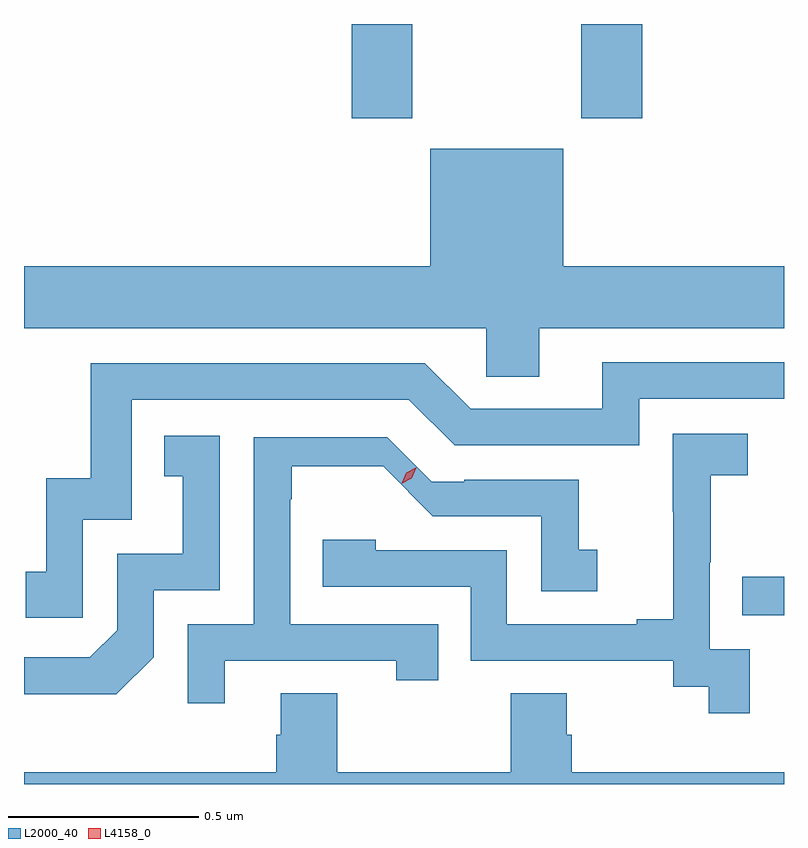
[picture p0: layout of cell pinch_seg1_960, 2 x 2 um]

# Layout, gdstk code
import gdstk
lib = gdstk.Library(unit=1e-6, precision=1e-09)
def R(c, l, rs):  # rectangles x0, y0, x1, y1
    for r in rs: c.add(gdstk.rectangle(r[:2], r[2:], *l))
def P(c, l, *ps):  # polygons
    for p in ps: c.add(gdstk.Polygon(p, *l))
L2000_40 = (2000, 40)
L4158_0 = (4158, 0)

pinch_seg1_960 = lib.new_cell('pinch_seg1_960')
R(pinch_seg1_960, L2000_40, [(126.889,533.661,126.999,533.762), (125.861,534.969,126.021,535.217), (126.466,534.969,126.626,535.217)])
P(pinch_seg1_960, L2000_40, [(126.068,534.889),(126.068,534.58),(124.999,534.58),(124.999,534.416),(126.216,534.416),(126.216,534.289),(126.355,534.289),(126.355,534.416),(126.999,534.416),(126.999,534.58),(126.418,534.58),(126.418,534.889)],
  [(125.154,533.913),(125.283,533.913),(125.283,534.228),(126.012,534.228),(126.132,534.108),(126.618,534.108),(126.618,534.231),(126.999,534.231),(126.999,534.327),(126.521,534.327),(126.521,534.204),(126.174,534.204),(126.054,534.324),(125.175,534.324),(125.175,534.022),(125.057,534.022),(125.057,533.775),(125.004,533.775),(125.004,533.655),(125.154,533.655)],
  [(126.909,533.571),(126.804,533.571),(126.804,533.801),(126.806,533.801),(126.806,534.029),(126.904,534.029),(126.904,534.139),(126.706,534.139),(126.706,533.933),(126.707,533.933),(126.707,533.65),(126.611,533.65),(126.611,533.637),(126.27,533.637),(126.27,533.832),(125.925,533.832),(125.925,533.86),(125.785,533.86),(125.785,533.736),(126.174,533.736),(126.174,533.541),(126.708,533.541),(126.708,533.473),(126.801,533.473),(126.801,533.403),(126.909,533.403)],
  [(125.34,533.55),(125.34,533.727),(125.514,533.727),(125.514,534.133),(125.368,534.133),(125.368,534.027),(125.417,534.027),(125.417,533.823),(125.244,533.823),(125.244,533.622),(125.172,533.55),(124.999,533.55),(124.999,533.453),(125.242,533.453)],
  [(125.527,533.541),(125.978,533.541),(125.978,533.49),(126.089,533.49),(126.089,533.637),(125.7,533.637),(125.7,533.966),(125.703,533.966),(125.703,534.053),(125.944,534.053),(126.074,533.922),(126.36,533.922),(126.36,533.724),(126.508,533.724),(126.508,533.833),(126.459,533.833),(126.459,534.018),(126.157,534.018),(126.157,534.012),(126.072,534.012),(125.955,534.129),(125.604,534.129),(125.604,533.637),(125.43,533.637),(125.43,533.43),(125.527,533.43)],
  [(126.999,533.248),(126.44,533.248),(126.44,533.346),(126.427,533.346),(126.427,533.456),(126.28,533.456),(126.28,533.248),(125.823,533.248),(125.823,533.456),(125.675,533.456),(125.675,533.346),(125.663,533.346),(125.663,533.248),(124.999,533.248),(124.999,533.217),(126.999,533.217)])
P(pinch_seg1_960, L4158_0, [(125.993,534.008),(125.993,534.009),(126.005,534.036),(126.03,534.049),(126.031,534.049),(126.031,534.049),(126.019,534.022),(125.994,534.008)])

lib.write_gds('pinch_seg1_960.gds')
